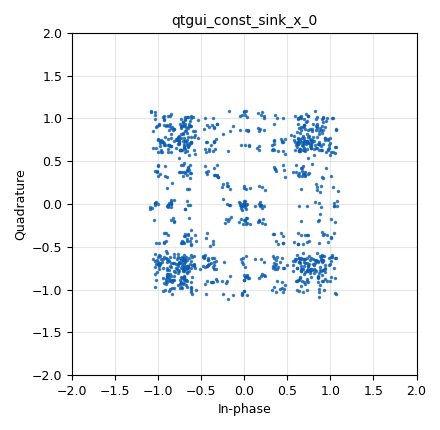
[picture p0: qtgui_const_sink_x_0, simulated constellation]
options:
  parameters:
    generate_options: qt_gui
    id: transfer
    output_language: python
    title: symbol_sync
  states: {}

blocks:
- name: excess_bw
  id: variable
  parameters:
    value: '0.350'
  states: {}
- name: qam
  id: variable_constellation_rect
  parameters:
    const_points: '[0.707+0.707j, -0.707+0.707j, -0.707-0.707j, 0.707-0.707j]'
    imag_sect: '2'
    real_sect: '2'
    rot_sym: '4'
    sym_map: '[0, 1, 2, 3]'
    w_imag_sect: '1'
    w_real_sect: '1'
  states: {}
- name: samp_rate
  id: variable
  parameters:
    value: '1000000'
  states: {}
- name: sps
  id: variable
  parameters:
    value: '4'
  states: {}
- name: analog_random_source_x_0
  id: analog_random_source_x
  parameters:
    max: '255'
    min: '0'
    num_samps: '1000'
    repeat: 'True'
    type: byte
  states: {}
- name: blocks_throttle_0
  id: blocks_throttle
  parameters:
    samples_per_second: samp_rate
    type: complex
  states: {}
- name: digital_constellation_modulator_0
  id: digital_constellation_modulator
  parameters:
    constellation: qam
    differential: 'True'
    excess_bw: excess_bw
    samples_per_symbol: sps
  states: {}
- name: qtgui_const_sink_x_0
  id: qtgui_const_sink_x
  parameters:
    size: '1024'
    type: complex
  states: {}
- name: uhd_usrp_sink_0
  id: uhd_usrp_sink
  parameters:
    ant0: '"TX/RX"'
    center_freq0: '2400000000'
    gain0: '50'
    samp_rate: samp_rate
    sync: none
    type: fc32
  states: {}

connections:
- [analog_random_source_x_0, '0', digital_constellation_modulator_0, '0']
- [blocks_throttle_0, '0', qtgui_const_sink_x_0, '0']
- [digital_constellation_modulator_0, '0', blocks_throttle_0, '0']
- [digital_constellation_modulator_0, '0', uhd_usrp_sink_0, '0']

metadata:
  file_format: 1
